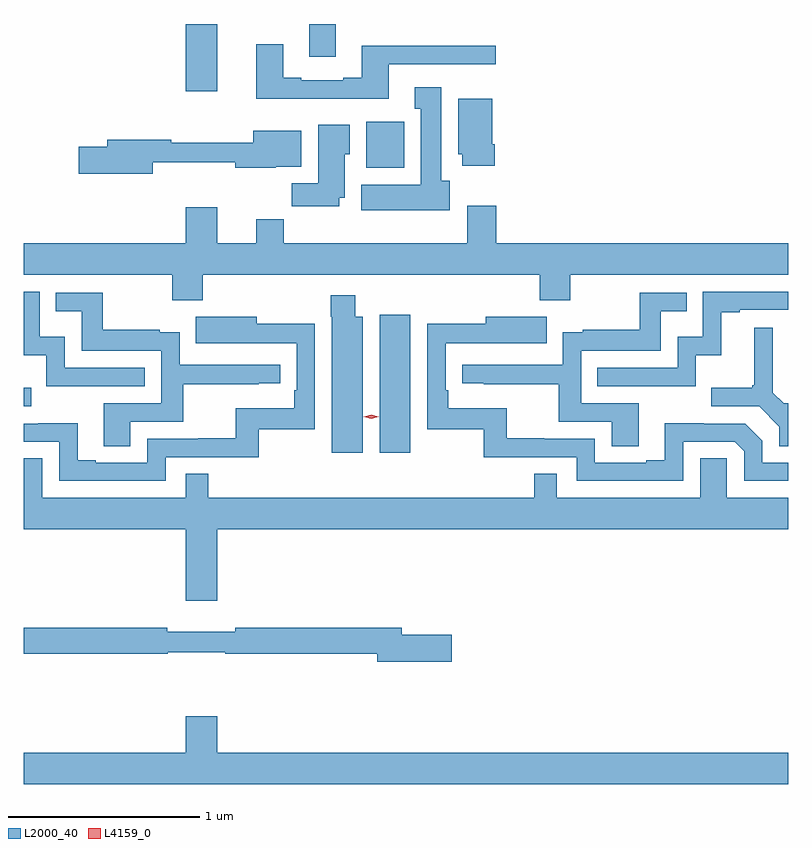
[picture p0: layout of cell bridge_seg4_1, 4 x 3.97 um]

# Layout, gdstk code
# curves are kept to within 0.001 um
import gdstk
lib = gdstk.Library(unit=1e-6, precision=1e-09)
def R(c, l, rs):  # rectangles x0, y0, x1, y1
    for r in rs: c.add(gdstk.rectangle(r[:2], r[2:], *l))
def P(c, l, *ps):  # polygons
    for p in ps: c.add(gdstk.Polygon(p, *l))
L2000_40 = (2000, 40)
L4159_0 = (4159, 0)

bridge_seg4_1 = lib.new_cell('bridge_seg4_1')
R(bridge_seg4_1, L2000_40, [(1041.146,770.58,1041.307,771.301), (1039.284,770.823,1039.324,770.92), (1041.077,772.07,1041.274,772.312), (1040.132,772.47,1040.296,772.822), (1040.777,772.65,1040.917,772.822)])
P(bridge_seg4_1, L2000_40, [(1041.193,772.611),(1041.754,772.611),(1041.754,772.708),(1041.053,772.708),(1041.053,772.54),(1040.957,772.54),(1040.957,772.527),(1040.737,772.527),(1040.737,772.54),(1040.641,772.54),(1040.641,772.717),(1040.501,772.717),(1040.501,772.43),(1041.193,772.43)],
  [(1041.514,772.002),(1041.469,772.002),(1041.469,772.492),(1041.329,772.492),(1041.329,772.379),(1041.362,772.379),(1041.362,771.982),(1041.05,771.982),(1041.05,771.848),(1041.514,771.848)],
  [(1041.749,772.192),(1041.736,772.192),(1041.736,772.432),(1041.557,772.432),(1041.557,772.14),(1041.578,772.14),(1041.578,772.08),(1041.749,772.08)],
  [(1040.935,771.914),(1040.965,771.914),(1040.965,772.14),(1040.989,772.14),(1040.989,772.294),(1040.825,772.294),(1040.825,771.988),(1040.686,771.988),(1040.686,771.87),(1040.935,771.87)],
  [(1039.96,772.099),(1040.39,772.099),(1040.39,772.07),(1040.604,772.07),(1040.604,772.076),(1040.737,772.076),(1040.737,772.264),(1040.486,772.264),(1040.486,772.202),(1040.056,772.202),(1040.056,772.217),(1039.721,772.217),(1039.721,772.181),(1039.572,772.181),(1039.572,772.039),(1039.96,772.039)],
  [(1041.983,771.377),(1042.143,771.377),(1042.143,771.512),(1043.284,771.512),(1043.284,771.676),(1041.757,771.676),(1041.757,771.871),(1041.605,771.871),(1041.605,771.676),(1040.645,771.676),(1040.645,771.8),(1040.501,771.8),(1040.501,771.676),(1040.296,771.676),(1040.296,771.865),(1040.132,771.865),(1040.132,771.676),(1039.284,771.676),(1039.284,771.512),(1040.062,771.512),(1040.062,771.377),(1040.222,771.377),(1040.222,771.512),(1041.983,771.512)],
  [(1042.8,771.089),(1042.933,771.089),(1042.933,771.315),(1043.029,771.315),(1043.029,771.327),(1043.284,771.327),(1043.284,771.423),(1042.836,771.423),(1042.836,771.187),(1042.704,771.187),(1042.704,771.024),(1042.285,771.024),(1042.285,770.928),(1042.8,770.928)],
  [(1039.919,771.024),(1039.5,771.024),(1039.5,771.187),(1039.368,771.187),(1039.368,771.423),(1039.284,771.423),(1039.284,771.089),(1039.404,771.089),(1039.404,770.928),(1039.919,770.928)],
  [(1039.843,770.742),(1040.12,770.742),(1040.12,770.938),(1040.513,770.938),(1040.513,770.943),(1040.626,770.943),(1040.626,771.039),(1040.1,771.039),(1040.1,771.211),(1039.997,771.211),(1039.997,771.223),(1039.699,771.223),(1039.699,771.417),(1039.453,771.417),(1039.453,771.32),(1039.588,771.32),(1039.588,771.114),(1040.004,771.114),(1040.004,770.838),(1039.703,770.838),(1039.703,770.614),(1039.843,770.614)],
  [(1042.501,770.838),(1042.2,770.838),(1042.2,771.114),(1042.617,771.114),(1042.617,771.32),(1042.751,771.32),(1042.751,771.417),(1042.506,771.417),(1042.506,771.223),(1042.207,771.223),(1042.207,771.211),(1042.104,771.211),(1042.104,771.039),(1041.579,771.039),(1041.579,770.943),(1041.691,770.943),(1041.691,770.938),(1042.084,770.938),(1042.084,770.742),(1042.361,770.742),(1042.361,770.614),(1042.501,770.614)],
  [(1041.058,771.292),(1041.019,771.292),(1041.019,771.403),(1040.89,771.403),(1040.89,771.29),(1040.897,771.29),(1040.897,770.58),(1041.058,770.58)],
  [(1040.028,770.556),(1040.515,770.556),(1040.515,770.703),(1040.808,770.703),(1040.808,771.254),(1040.503,771.254),(1040.503,771.292),(1040.185,771.292),(1040.185,771.152),(1040.399,771.152),(1040.399,771.153),(1040.712,771.153),(1040.712,770.908),(1040.699,770.908),(1040.699,770.812),(1040.394,770.812),(1040.394,770.657),(1040.197,770.657),(1040.197,770.652),(1039.932,770.652),(1039.932,770.529),(1039.663,770.529),(1039.663,770.542),(1039.567,770.542),(1039.567,770.735),(1039.362,770.735),(1039.362,770.733),(1039.284,770.733),(1039.284,770.637),(1039.47,770.637),(1039.47,770.433),(1040.028,770.433)],
  [(1042.734,770.637),(1043.004,770.637),(1043.052,770.589),(1043.052,770.433),(1043.284,770.433),(1043.284,770.529),(1043.148,770.529),(1043.148,770.643),(1043.058,770.733),(1042.842,770.733),(1042.842,770.735),(1042.637,770.735),(1042.637,770.542),(1042.541,770.542),(1042.541,770.529),(1042.272,770.529),(1042.272,770.652),(1042.007,770.652),(1042.007,770.657),(1041.811,770.657),(1041.811,770.812),(1041.506,770.812),(1041.506,770.908),(1041.492,770.908),(1041.492,771.153),(1042.019,771.152),(1042.019,771.292),(1041.701,771.292),(1041.701,771.254),(1041.396,771.254),(1041.396,770.703),(1041.69,770.703),(1041.69,770.556),(1042.176,770.556),(1042.176,770.433),(1042.734,770.433)],
  [(1043.284,770.838),(1043.259,770.838),(1043.202,770.895),(1043.202,771.235),(1043.105,771.235),(1043.105,770.932),(1043.094,770.932),(1043.094,770.92),(1042.881,770.92),(1042.881,770.823),(1043.13,770.823),(1043.237,770.716),(1043.237,770.614),(1043.284,770.614)],
  [(1040.296,770.18),(1043.284,770.18),(1043.284,770.344),(1042.962,770.344),(1042.962,770.552),(1042.823,770.552),(1042.823,770.344),(1042.071,770.344),(1042.071,770.471),(1041.955,770.471),(1041.955,770.344),(1040.249,770.344),(1040.249,770.471),(1040.133,770.471),(1040.133,770.344),(1039.381,770.344),(1039.381,770.552),(1039.284,770.552),(1039.284,770.18),(1040.132,770.18),(1040.132,769.806),(1040.296,769.806)],
  [(1041.523,769.628),(1041.262,769.628),(1041.262,769.664),(1040.392,769.664),(1040.392,769.645),(1040.036,769.645),(1040.036,769.664),(1039.284,769.664),(1039.284,769.528),(1040.038,769.528),(1040.038,769.536),(1040.338,769.536),(1040.338,769.528),(1041.134,769.528),(1041.134,769.486),(1041.523,769.486)],
  [(1043.284,769.012),(1040.296,769.012),(1040.296,769.201),(1040.132,769.201),(1040.132,769.012),(1039.284,769.012),(1039.284,768.848),(1043.284,768.848)])
P(bridge_seg4_1, L4159_0, [(1041.102,770.759),(1041.062,770.769),(1041.062,770.769),(1041.062,770.769),(1041.102,770.779),(1041.142,770.769),(1041.142,770.769),(1041.142,770.769)])

lib.write_gds('bridge_seg4_1.gds')
